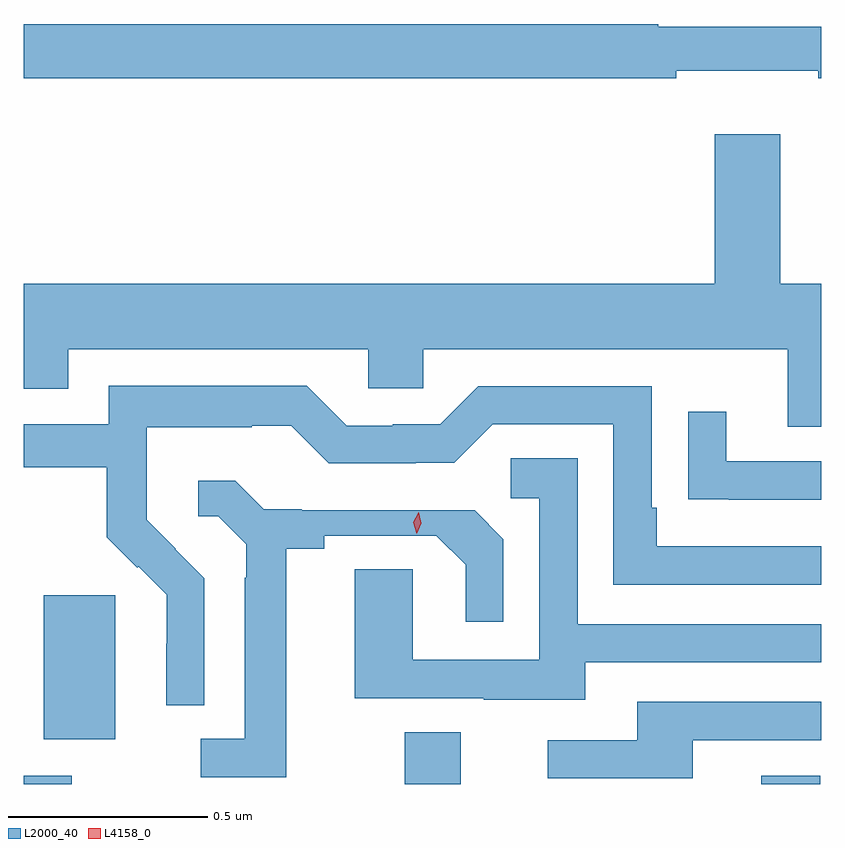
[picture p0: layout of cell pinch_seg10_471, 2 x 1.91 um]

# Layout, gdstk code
import gdstk
lib = gdstk.Library(unit=1e-6, precision=1e-09)
def R(c, l, rs):  # rectangles x0, y0, x1, y1
    for r in rs: c.add(gdstk.rectangle(r[:2], r[2:], *l))
def P(c, l, *ps):  # polygons
    for p in ps: c.add(gdstk.Polygon(p, *l))
L2000_40 = (2000, 40)
L4158_0 = (4158, 0)

pinch_seg10_471 = lib.new_cell('pinch_seg10_471')
R(pinch_seg10_471, L2000_40, [(355.083,1312.546,355.203,1312.567), (356.039,1312.546,356.179,1312.676), (356.933,1312.546,357.081,1312.567), (355.133,1312.658,355.312,1313.019)])
P(pinch_seg10_471, L2000_40, [(356.72,1314.335),(357.076,1314.335),(357.076,1314.316),(357.083,1314.316),(357.083,1314.445),(356.674,1314.445),(356.674,1314.452),(355.083,1314.452),(355.083,1314.316),(356.72,1314.316)],
  [(357.083,1313.8),(356.98,1313.8),(356.98,1314.175),(356.816,1314.175),(356.816,1313.8),(355.083,1313.8),(355.083,1313.537),(355.195,1313.537),(355.195,1313.636),(355.947,1313.636),(355.947,1313.538),(356.085,1313.538),(356.085,1313.636),(356.999,1313.636),(356.999,1313.442),(357.083,1313.442)],
  [(355.536,1313.062),(355.463,1313.135),(355.464,1313.136),(355.391,1313.209),(355.391,1313.307),(355.392,1313.307),(355.392,1313.441),(355.655,1313.441),(355.655,1313.445),(355.754,1313.445),(355.848,1313.351),(356.066,1313.351),(356.066,1313.352),(356.163,1313.352),(356.259,1313.448),(356.562,1313.448),(356.562,1313.046),(357.083,1313.046),(357.083,1313.142),(356.671,1313.142),(356.671,1313.239),(356.658,1313.239),(356.658,1313.544),(356.223,1313.544),(356.127,1313.448),(356.009,1313.448),(356.009,1313.445),(355.893,1313.445),(355.793,1313.545),(355.296,1313.545),(355.296,1313.448),(355.083,1313.448),(355.083,1313.34),(355.291,1313.34),(355.291,1313.165),(355.368,1313.088),(355.371,1313.091),(355.442,1313.021),(355.442,1312.898),(355.44,1312.898),(355.44,1312.744),(355.536,1312.744)],
  [(357.083,1313.355),(356.845,1313.355),(356.845,1313.479),(356.749,1313.479),(356.749,1313.26),(356.851,1313.26),(356.851,1313.259),(357.083,1313.259)],
  [(356.491,1312.851),(357.083,1312.851),(357.083,1312.947),(356.472,1312.947),(356.472,1313.363),(356.304,1313.363),(356.304,1313.263),(356.376,1313.263),(356.376,1312.857),(356.058,1312.857),(356.058,1313.084),(355.913,1313.084),(355.913,1312.761),(356.237,1312.761),(356.237,1312.757),(356.491,1312.757)],
  [(355.741,1313.136),(355.837,1313.136),(355.837,1313.169),(356.118,1313.169),(356.192,1313.096),(356.192,1312.953),(356.286,1312.953),(356.286,1313.16),(356.214,1313.232),(355.78,1313.232),(355.78,1313.235),(355.685,1313.235),(355.613,1313.307),(355.521,1313.307),(355.521,1313.217),(355.571,1313.217),(355.641,1313.147),(355.641,1313.063),(355.637,1313.063),(355.637,1312.659),(355.527,1312.659),(355.527,1312.563),(355.741,1312.563)],
  [(356.761,1312.656),(357.083,1312.656),(357.083,1312.752),(356.621,1312.752),(356.621,1312.656),(356.397,1312.656),(356.397,1312.56),(356.761,1312.56)])
P(pinch_seg10_471, L4158_0, [(356.068,1313.174),(356.068,1313.174),(356.06,1313.202),(356.073,1313.228),(356.073,1313.228),(356.073,1313.228),(356.08,1313.2),(356.068,1313.174)])

lib.write_gds('pinch_seg10_471.gds')
